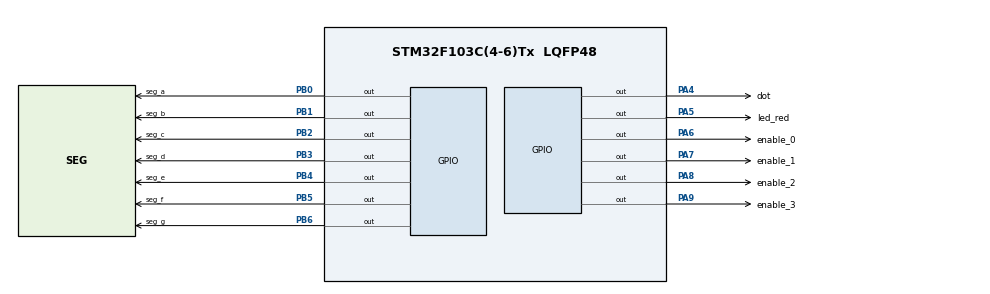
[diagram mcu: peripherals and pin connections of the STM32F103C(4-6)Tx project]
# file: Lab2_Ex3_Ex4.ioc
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Mcu.Family=STM32F1
Mcu.Name=STM32F103C(4-6)Tx
Mcu.Package=LQFP48
NVIC.PriorityGroup=NVIC_PRIORITYGROUP_4
NVIC.TIM2_IRQn=true\:0\:0\:false\:false\:true\:true\:true
PA4.GPIO_Label=dot
PA4.Signal=GPIO_Output
PA5.GPIO_Label=led_red
PA5.Signal=GPIO_Output
PA6.GPIO_Label=enable_0
PA6.Signal=GPIO_Output
PA7.GPIO_Label=enable_1
PA7.Signal=GPIO_Output
PA8.GPIO_Label=enable_2
PA8.Signal=GPIO_Output
PA9.GPIO_Label=enable_3
PA9.Signal=GPIO_Output
PB0.GPIO_Label=seg_a
PB0.Signal=GPIO_Output
PB1.GPIO_Label=seg_b
PB1.Signal=GPIO_Output
PB2.GPIO_Label=seg_c
PB2.Signal=GPIO_Output
PB3.GPIO_Label=seg_d
PB3.Signal=GPIO_Output
PB4.GPIO_Label=seg_e
PB4.Signal=GPIO_Output
PB5.GPIO_Label=seg_f
PB5.Signal=GPIO_Output
PB6.GPIO_Label=seg_g
PB6.Signal=GPIO_Output
ProjectManager.HeapSize=0x200
ProjectManager.StackSize=0x400
ProjectManager.TargetToolchain=STM32CubeIDE
RCC.APB1Freq_Value=8000000
RCC.APB2Freq_Value=8000000
TIM2.Period=10 - 1
TIM2.Prescaler=8000 - 1
VP_SYS_VS_ND.Mode=No_Debug
VP_TIM2_VS_ClockSourceINT.Mode=Internal
board=custom

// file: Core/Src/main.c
/* USER CODE BEGIN Header */
/**
  ******************************************************************************
  * @file           : main.c
  * @brief          : Main program body
  ******************************************************************************
  * @attention
  *
  * <h2><center>&copy; Copyright (c) 2022 STMicroelectronics.
  * All rights reserved.</center></h2>
  *
  * This software component is licensed by ST under BSD 3-Clause license,
  * the "License"; You may not use this file except in compliance with the
  * License. You may obtain a copy of the License at:
  *                        opensource.org/licenses/BSD-3-Clause
  *
  ******************************************************************************
  */
/* USER CODE END Header */
#include "main.h"

/* USER CODE BEGIN Includes */
#include "software_timer.h"
/* USER CODE END Includes */

TIM_HandleTypeDef htim2;

void SystemClock_Config(void);
static void MX_GPIO_Init(void);
static void MX_TIM2_Init(void);
/* USER CODE BEGIN PFP */

void display7SEG(int num,
		GPIO_TypeDef* a_seg_GPIO_Port, uint16_t a_seg_Pin,
		GPIO_TypeDef* b_seg_GPIO_Port, uint16_t b_seg_Pin,
		GPIO_TypeDef* c_seg_GPIO_Port, uint16_t c_seg_Pin,
		GPIO_TypeDef* d_seg_GPIO_Port, uint16_t d_seg_Pin,
		GPIO_TypeDef* e_seg_GPIO_Port, uint16_t e_seg_Pin,
		GPIO_TypeDef* f_seg_GPIO_Port, uint16_t f_seg_Pin,
		GPIO_TypeDef* g_seg_GPIO_Port, uint16_t g_seg_Pin);

void update7SEG(int num);

/* USER CODE END PFP */

int main(void)
{

  /* MCU Configuration--------------------------------------------------------*/

  /* Reset of all peripherals, Initializes the Flash interface and the Systick. */
  HAL_Init();

  /* Configure the system clock */
  SystemClock_Config();

  /* Initialize all configured peripherals */
  MX_GPIO_Init();
  MX_TIM2_Init();
  /* USER CODE BEGIN 2 */
  HAL_TIM_Base_Start_IT(&htim2);
  /* USER CODE END 2 */

  /* Infinite loop */
  /* USER CODE BEGIN WHILE */
  //TODO: EX3
  Set_timer(100, 0);
  Set_timer(25, 1);
  const int MAX_LED = 4;
  int index_led = 0;
  int led_buffer [4] = {1 , 2 , 3 , 4};

  while (1)
  {
	  if(index_led >= MAX_LED)
	  {
		  index_led = 0;
	  }
	  if(timer_flag[0] == 1)
	  {
		  Set_timer(100, 0);
		  HAL_GPIO_TogglePin(led_red_GPIO_Port, led_red_Pin);
	  }
	  if(timer_flag[1] == 1)
	  {
		  Set_timer(25, 1);
		  display7SEG(led_buffer[index_led],
				  seg_a_GPIO_Port, seg_a_Pin,
				  seg_b_GPIO_Port, seg_b_Pin,
				  seg_c_GPIO_Port, seg_c_Pin,
				  seg_d_GPIO_Port, seg_d_Pin,
				  seg_e_GPIO_Port, seg_e_Pin,
				  seg_f_GPIO_Port, seg_f_Pin,
				  seg_g_GPIO_Port, seg_g_Pin);
		  update7SEG(index_led++);
	  }
    /* USER CODE END WHILE */

  }
}

void SystemClock_Config(void)
{
  RCC_OscInitTypeDef RCC_OscInitStruct = {0};
  RCC_ClkInitTypeDef RCC_ClkInitStruct = {0};

  /** Initializes the RCC Oscillators according to the specified parameters
  * in the RCC_OscInitTypeDef structure.
  */
  RCC_OscInitStruct.OscillatorType = RCC_OSCILLATORTYPE_HSI;
  RCC_OscInitStruct.HSIState = RCC_HSI_ON;
  RCC_OscInitStruct.HSICalibrationValue = RCC_HSICALIBRATION_DEFAULT;
  RCC_OscInitStruct.PLL.PLLState = RCC_PLL_NONE;
  if (HAL_RCC_OscConfig(&RCC_OscInitStruct) != HAL_OK)
  {
    Error_Handler();
  }
  /** Initializes the CPU, AHB and APB buses clocks
  */
  RCC_ClkInitStruct.ClockType = RCC_CLOCKTYPE_HCLK|RCC_CLOCKTYPE_SYSCLK
                              |RCC_CLOCKTYPE_PCLK1|RCC_CLOCKTYPE_PCLK2;
  RCC_ClkInitStruct.SYSCLKSource = RCC_SYSCLKSOURCE_HSI;
  RCC_ClkInitStruct.AHBCLKDivider = RCC_SYSCLK_DIV1;
  RCC_ClkInitStruct.APB1CLKDivider = RCC_HCLK_DIV1;
  RCC_ClkInitStruct.APB2CLKDivider = RCC_HCLK_DIV1;

  if (HAL_RCC_ClockConfig(&RCC_ClkInitStruct, FLASH_LATENCY_0) != HAL_OK)
  {
    Error_Handler();
  }
}

static void MX_TIM2_Init(void)
{

  TIM_ClockConfigTypeDef sClockSourceConfig = {0};
  TIM_MasterConfigTypeDef sMasterConfig = {0};

  htim2.Instance = TIM2;
  htim2.Init.Prescaler = 8000 - 1;
  htim2.Init.CounterMode = TIM_COUNTERMODE_UP;
  htim2.Init.Period = 10 - 1;
  htim2.Init.ClockDivision = TIM_CLOCKDIVISION_DIV1;
  htim2.Init.AutoReloadPreload = TIM_AUTORELOAD_PRELOAD_DISABLE;
  if (HAL_TIM_Base_Init(&htim2) != HAL_OK)
  {
    Error_Handler();
  }
  sClockSourceConfig.ClockSource = TIM_CLOCKSOURCE_INTERNAL;
  if (HAL_TIM_ConfigClockSource(&htim2, &sClockSourceConfig) != HAL_OK)
  {
    Error_Handler();
  }
  sMasterConfig.MasterOutputTrigger = TIM_TRGO_RESET;
  sMasterConfig.MasterSlaveMode = TIM_MASTERSLAVEMODE_DISABLE;
  if (HAL_TIMEx_MasterConfigSynchronization(&htim2, &sMasterConfig) != HAL_OK)
  {
    Error_Handler();
  }

}

static void MX_GPIO_Init(void)
{
  GPIO_InitTypeDef GPIO_InitStruct = {0};

  /* GPIO Ports Clock Enable */
  __HAL_RCC_GPIOA_CLK_ENABLE();
  __HAL_RCC_GPIOB_CLK_ENABLE();

  /*Configure GPIO pin Output Level */
  HAL_GPIO_WritePin(GPIOA, dot_Pin|led_red_Pin|enable_0_Pin|enable_1_Pin
                          |enable_2_Pin|enable_3_Pin, GPIO_PIN_RESET);

  /*Configure GPIO pin Output Level */
  HAL_GPIO_WritePin(GPIOB, seg_a_Pin|seg_b_Pin|seg_c_Pin|seg_d_Pin
                          |seg_e_Pin|seg_f_Pin|seg_g_Pin, GPIO_PIN_RESET);

  /*Configure GPIO pins : dot_Pin led_red_Pin enable_0_Pin enable_1_Pin
                           enable_2_Pin enable_3_Pin */
  GPIO_InitStruct.Pin = dot_Pin|led_red_Pin|enable_0_Pin|enable_1_Pin
                          |enable_2_Pin|enable_3_Pin;
  GPIO_InitStruct.Mode = GPIO_MODE_OUTPUT_PP;
  GPIO_InitStruct.Pull = GPIO_NOPULL;
  GPIO_InitStruct.Speed = GPIO_SPEED_FREQ_LOW;
  HAL_GPIO_Init(GPIOA, &GPIO_InitStruct);

  /*Configure GPIO pins : seg_a_Pin seg_b_Pin seg_c_Pin seg_d_Pin
                           seg_e_Pin seg_f_Pin seg_g_Pin */
  GPIO_InitStruct.Pin = seg_a_Pin|seg_b_Pin|seg_c_Pin|seg_d_Pin
                          |seg_e_Pin|seg_f_Pin|seg_g_Pin;
  GPIO_InitStruct.Mode = GPIO_MODE_OUTPUT_PP;
  GPIO_InitStruct.Pull = GPIO_NOPULL;
  GPIO_InitStruct.Speed = GPIO_SPEED_FREQ_LOW;
  HAL_GPIO_Init(GPIOB, &GPIO_InitStruct);

}

/* USER CODE BEGIN 4 */

void HAL_TIM_PeriodElapsedCallback(TIM_HandleTypeDef *htim)
{
	Run_timer();
}
void display7SEG(int num,
		GPIO_TypeDef* a_seg_GPIO_Port, uint16_t a_seg_Pin,
		GPIO_TypeDef* b_seg_GPIO_Port, uint16_t b_seg_Pin,
		GPIO_TypeDef* c_seg_GPIO_Port, uint16_t c_seg_Pin,
		GPIO_TypeDef* d_seg_GPIO_Port, uint16_t d_seg_Pin,
		GPIO_TypeDef* e_seg_GPIO_Port, uint16_t e_seg_Pin,
		GPIO_TypeDef* f_seg_GPIO_Port, uint16_t f_seg_Pin,
		GPIO_TypeDef* g_seg_GPIO_Port, uint16_t g_seg_Pin)
{
	switch (num) {
		case 0:
			HAL_GPIO_WritePin(a_seg_GPIO_Port, a_seg_Pin, RESET);
			HAL_GPIO_WritePin(b_seg_GPIO_Port, b_seg_Pin, RESET);
			HAL_GPIO_WritePin(c_seg_GPIO_Port, c_seg_Pin, RESET);
			HAL_GPIO_WritePin(d_seg_GPIO_Port, d_seg_Pin, RESET);
			HAL_GPIO_WritePin(e_seg_GPIO_Port, e_seg_Pin, RESET);
			HAL_GPIO_WritePin(f_seg_GPIO_Port, f_seg_Pin, RESET);
			HAL_GPIO_WritePin(g_seg_GPIO_Port, g_seg_Pin, SET);
			break;
		case 1:
			HAL_GPIO_WritePin(a_seg_GPIO_Port, a_seg_Pin, SET);
			HAL_GPIO_WritePin(b_seg_GPIO_Port, b_seg_Pin, RESET);
			HAL_GPIO_WritePin(c_seg_GPIO_Port, c_seg_Pin, RESET);
			HAL_GPIO_WritePin(d_seg_GPIO_Port, d_seg_Pin, SET);
			HAL_GPIO_WritePin(e_seg_GPIO_Port, e_seg_Pin, SET);
			HAL_GPIO_WritePin(f_seg_GPIO_Port, f_seg_Pin, SET);
			HAL_GPIO_WritePin(g_seg_GPIO_Port, g_seg_Pin, SET);
			break;
		case 2:
			HAL_GPIO_WritePin(a_seg_GPIO_Port, a_seg_Pin, RESET);
			HAL_GPIO_WritePin(b_seg_GPIO_Port, b_seg_Pin, RESET);
			HAL_GPIO_WritePin(c_seg_GPIO_Port, c_seg_Pin, SET);
			HAL_GPIO_WritePin(d_seg_GPIO_Port, d_seg_Pin, RESET);
			HAL_GPIO_WritePin(e_seg_GPIO_Port, e_seg_Pin, RESET);
			HAL_GPIO_WritePin(f_seg_GPIO_Port, f_seg_Pin, SET);
			HAL_GPIO_WritePin(g_seg_GPIO_Port, g_seg_Pin, RESET);
			break;
		case 3:
			HAL_GPIO_WritePin(a_seg_GPIO_Port, a_seg_Pin, RESET);
			HAL_GPIO_WritePin(b_seg_GPIO_Port, b_seg_Pin, RESET);
			HAL_GPIO_WritePin(c_seg_GPIO_Port, c_seg_Pin, RESET);
			HAL_GPIO_WritePin(d_seg_GPIO_Port, d_seg_Pin, RESET);
			HAL_GPIO_WritePin(e_seg_GPIO_Port, e_seg_Pin, SET);
			HAL_GPIO_WritePin(f_seg_GPIO_Port, f_seg_Pin, SET);
			HAL_GPIO_WritePin(g_seg_GPIO_Port, g_seg_Pin, RESET);
			break;
		case 4:
			HAL_GPIO_WritePin(a_seg_GPIO_Port, a_seg_Pin, SET);
			HAL_GPIO_WritePin(b_seg_GPIO_Port, b_seg_Pin, RESET);
			HAL_GPIO_WritePin(c_seg_GPIO_Port, c_seg_Pin, RESET);
			HAL_GPIO_WritePin(d_seg_GPIO_Port, d_seg_Pin, SET);
			HAL_GPIO_WritePin(e_seg_GPIO_Port, e_seg_Pin, SET);
			HAL_GPIO_WritePin(f_seg_GPIO_Port, f_seg_Pin, RESET);
			HAL_GPIO_WritePin(g_seg_GPIO_Port, g_seg_Pin, RESET);
			break;
		case 5:
			HAL_GPIO_WritePin(a_seg_GPIO_Port, a_seg_Pin, RESET);
			HAL_GPIO_WritePin(b_seg_GPIO_Port, b_seg_Pin, SET);
			HAL_GPIO_WritePin(c_seg_GPIO_Port, c_seg_Pin, RESET);
			HAL_GPIO_WritePin(d_seg_GPIO_Port, d_seg_Pin, RESET);
			HAL_GPIO_WritePin(e_seg_GPIO_Port, e_seg_Pin, SET);
			HAL_GPIO_WritePin(f_seg_GPIO_Port, f_seg_Pin, RESET);
			HAL_GPIO_WritePin(g_seg_GPIO_Port, g_seg_Pin, RESET);
			break;
		case 6:
			HAL_GPIO_WritePin(a_seg_GPIO_Port, a_seg_Pin, RESET);
			HAL_GPIO_WritePin(b_seg_GPIO_Port, b_seg_Pin, SET);
			HAL_GPIO_WritePin(c_seg_GPIO_Port, c_seg_Pin, RESET);
			HAL_GPIO_WritePin(d_seg_GPIO_Port, d_seg_Pin, RESET);
			HAL_GPIO_WritePin(e_seg_GPIO_Port, e_seg_Pin, RESET);
			HAL_GPIO_WritePin(f_seg_GPIO_Port, f_seg_Pin, RESET);
			HAL_GPIO_WritePin(g_seg_GPIO_Port, g_seg_Pin, RESET);
			break;
		case 7:
			HAL_GPIO_WritePin(a_seg_GPIO_Port, a_seg_Pin, RESET);
			HAL_GPIO_WritePin(b_seg_GPIO_Port, b_seg_Pin, RESET);
			HAL_GPIO_WritePin(c_seg_GPIO_Port, c_seg_Pin, RESET);
			HAL_GPIO_WritePin(d_seg_GPIO_Port, d_seg_Pin, SET);
			HAL_GPIO_WritePin(e_seg_GPIO_Port, e_seg_Pin, SET);
			HAL_GPIO_WritePin(f_seg_GPIO_Port, f_seg_Pin, SET);
			HAL_GPIO_WritePin(g_seg_GPIO_Port, g_seg_Pin, SET);
			break;
		case 8:
			HAL_GPIO_WritePin(a_seg_GPIO_Port, a_seg_Pin, RESET);
			HAL_GPIO_WritePin(b_seg_GPIO_Port, b_seg_Pin, RESET);
			HAL_GPIO_WritePin(c_seg_GPIO_Port, c_seg_Pin, RESET);
			HAL_GPIO_WritePin(d_seg_GPIO_Port, d_seg_Pin, RESET);
			HAL_GPIO_WritePin(e_seg_GPIO_Port, e_seg_Pin, RESET);
			HAL_GPIO_WritePin(f_seg_GPIO_Port, f_seg_Pin, RESET);
			HAL_GPIO_WritePin(g_seg_GPIO_Port, g_seg_Pin, RESET);
			break;
		case 9:
			HAL_GPIO_WritePin(a_seg_GPIO_Port, a_seg_Pin, RESET);
			HAL_GPIO_WritePin(b_seg_GPIO_Port, b_seg_Pin, RESET);
			HAL_GPIO_WritePin(c_seg_GPIO_Port, c_seg_Pin, RESET);
			HAL_GPIO_WritePin(d_seg_GPIO_Port, d_seg_Pin, RESET);
			HAL_GPIO_WritePin(e_seg_GPIO_Port, e_seg_Pin, SET);
			HAL_GPIO_WritePin(f_seg_GPIO_Port, f_seg_Pin, RESET);
			HAL_GPIO_WritePin(g_seg_GPIO_Port, g_seg_Pin, RESET);
			break;
		default:
			break;
	}
}
//TODO: EX4
void update7SEG(int num)
{
	  switch (num)
	  {
		case 0:
			HAL_GPIO_WritePin(enable_0_GPIO_Port, enable_0_Pin, RESET);
			HAL_GPIO_WritePin(enable_1_GPIO_Port, enable_1_Pin, SET);
			HAL_GPIO_WritePin(enable_2_GPIO_Port, enable_2_Pin, SET);
			HAL_GPIO_WritePin(enable_3_GPIO_Port, enable_3_Pin, SET);
			break;
		case 1:
			HAL_GPIO_WritePin(enable_0_GPIO_Port, enable_0_Pin, SET);
			HAL_GPIO_WritePin(enable_1_GPIO_Port, enable_1_Pin, RESET);
			HAL_GPIO_WritePin(enable_2_GPIO_Port, enable_2_Pin, SET);
			HAL_GPIO_WritePin(enable_3_GPIO_Port, enable_3_Pin, SET);
			break;
		case 2:
			HAL_GPIO_WritePin(enable_0_GPIO_Port, enable_0_Pin, SET);
			HAL_GPIO_WritePin(enable_1_GPIO_Port, enable_1_Pin, SET);
			HAL_GPIO_WritePin(enable_2_GPIO_Port, enable_2_Pin, RESET);
			HAL_GPIO_WritePin(enable_3_GPIO_Port, enable_3_Pin, SET);
			break;
		case 3:
			HAL_GPIO_WritePin(enable_0_GPIO_Port, enable_0_Pin, SET);
			HAL_GPIO_WritePin(enable_1_GPIO_Port, enable_1_Pin, SET);
			HAL_GPIO_WritePin(enable_2_GPIO_Port, enable_2_Pin, SET);
			HAL_GPIO_WritePin(enable_3_GPIO_Port, enable_3_Pin, RESET);
			break;
		default:
			break;
	  }
}

/* USER CODE END 4 */

void Error_Handler(void)
{
  __disable_irq();
  while (1)
  {
  }
}

/************************ (C) COPYRIGHT STMicroelectronics *****END OF FILE****/
